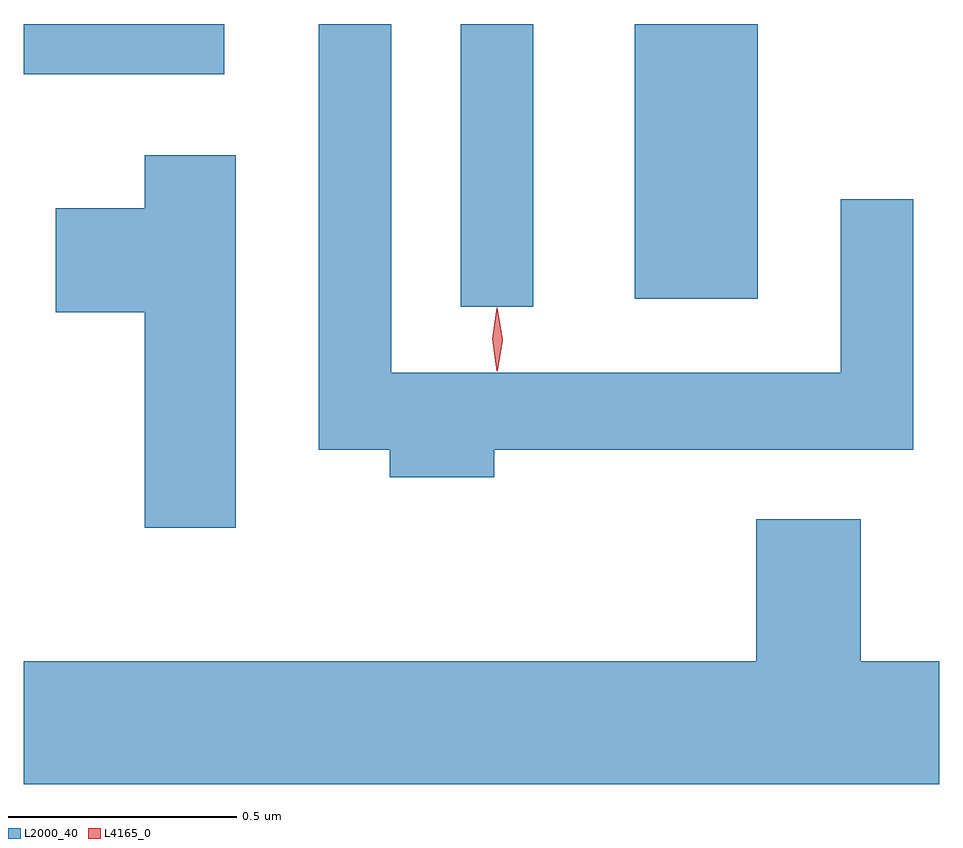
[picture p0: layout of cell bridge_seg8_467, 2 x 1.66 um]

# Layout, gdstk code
import gdstk
lib = gdstk.Library(unit=1e-6, precision=1e-09)
def R(c, l, rs):  # rectangles x0, y0, x1, y1
    for r in rs: c.add(gdstk.rectangle(r[:2], r[2:], *l))
def P(c, l, *ps):  # polygons
    for p in ps: c.add(gdstk.Polygon(p, *l))
L2000_40 = (2000, 40)
L4165_0 = (4165, 0)

bridge_seg8_467 = lib.new_cell('bridge_seg8_467')
R(bridge_seg8_467, L2000_40, [(538.256,1935.138,538.414,1935.756), (538.636,1935.156,538.904,1935.756), (537.301,1935.646,537.739,1935.756)])
P(bridge_seg8_467, L2000_40, [(538.329,1934.826),(539.244,1934.826),(539.244,1935.373),(539.086,1935.373),(539.086,1934.994),(538.104,1934.994),(538.104,1935.756),(537.946,1935.756),(537.946,1934.826),(538.101,1934.826),(538.101,1934.766),(538.329,1934.766)],
  [(537.764,1935.469),(537.566,1935.469),(537.566,1935.354),(537.371,1935.354),(537.371,1935.126),(537.566,1935.126),(537.566,1934.656),(537.764,1934.656)],
  [(539.301,1934.364),(539.129,1934.364),(539.129,1934.674),(538.901,1934.674),(538.901,1934.364),(537.301,1934.364),(537.301,1934.096),(539.301,1934.096)])
P(bridge_seg8_467, L4165_0, [(538.334,1934.997),(538.325,1935.067),(538.334,1935.136),(538.335,1935.136),(538.335,1935.136),(538.345,1935.067),(538.335,1934.997),(538.335,1934.997)],
  [(538.336,1935),(538.327,1935.066),(538.336,1935.132),(538.337,1935.133),(538.337,1935.132),(538.347,1935.066),(538.337,1935),(538.337,1935)])

lib.write_gds('bridge_seg8_467.gds')
